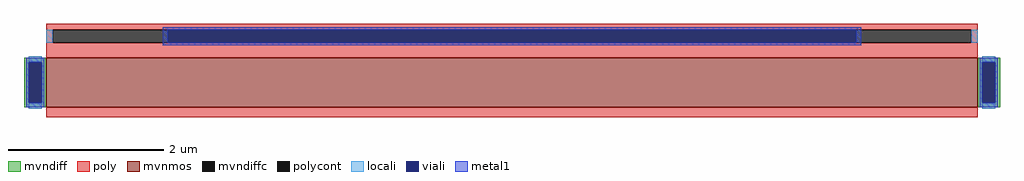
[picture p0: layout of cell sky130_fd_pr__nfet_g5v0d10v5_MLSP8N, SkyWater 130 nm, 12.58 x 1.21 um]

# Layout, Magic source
magic
tech sky130A
magscale 1 2
<< mvnmos >>
rect -1200 -95 1200 33
<< mvndiff >>
rect -1258 21 -1200 33
rect -1258 -83 -1246 21
rect -1212 -83 -1200 21
rect -1258 -95 -1200 -83
rect 1200 21 1258 33
rect 1200 -83 1212 21
rect 1246 -83 1258 21
rect 1200 -95 1258 -83
<< mvndiffc >>
rect -1246 -83 -1212 21
rect 1212 -83 1246 21
<< poly >>
rect -1200 105 1200 121
rect -1200 71 -1184 105
rect 1184 71 1200 105
rect -1200 33 1200 71
rect -1200 -121 1200 -95
<< polycont >>
rect -1184 71 1184 105
<< locali >>
rect -1200 71 -1184 105
rect 1184 71 1200 105
rect -1246 21 -1212 37
rect -1246 -99 -1212 -83
rect 1212 21 1246 37
rect 1212 -99 1246 -83
<< viali >>
rect -888 71 888 105
rect -1246 -83 -1212 21
rect 1212 -83 1246 21
<< metal1 >>
rect -900 105 900 111
rect -900 71 -888 105
rect 888 71 900 105
rect -900 65 900 71
rect -1252 21 -1206 33
rect -1252 -83 -1246 21
rect -1212 -83 -1206 21
rect -1252 -95 -1206 -83
rect 1206 21 1252 33
rect 1206 -83 1212 21
rect 1246 -83 1252 21
rect 1206 -95 1252 -83
<< properties >>
string gencell sky130_fd_pr__nfet_g5v0d10v5
string library sky130
string parameters w 0.64 l 12 m 1 nf 1 diffcov 100 polycov 100 guard 0 glc 1 grc 1 gtc 1 gbc 1 tbcov 100 rlcov 100 topc 1 botc 0 poverlap 0 doverlap 1 lmin 0.50 wmin 0.42 compatible {sky130_fd_pr__nfet_01v8 sky130_fd_pr__nfet_01v8_lvt  sky130_fd_bs_flash__special_sonosfet_star  sky130_fd_pr__nfet_g5v0d10v5 sky130_fd_pr__nfet_05v0_nvt  sky130_fd_pr__nfet_03v3_nvt} full_metal 1 viasrc 100 viadrn 100 viagate 75 viagb 0 viagr 0 viagl 0 viagt 0
<< end >>
